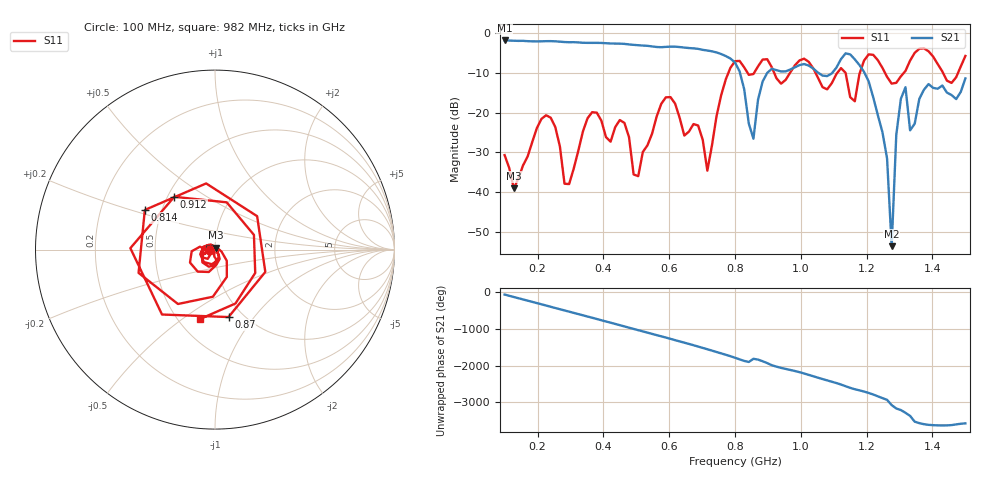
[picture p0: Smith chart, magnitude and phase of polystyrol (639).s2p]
! NanoVNA-App
! Date: 2025-09-25 15:34:51
! Start: 100MHz Stop: 1,5GHz Points: 101
! S-Parameter data: F S11 S21 S12 S22
# Hz S RI R 50
!  Frequency  S11_Real  S11_Imag  S21_Real  S21_Imag  S12_Real  S12_Imag  S22_Real  S22_Imag
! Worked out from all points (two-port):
!   101 points, 100 MHz to 1.5 GHz, reference 50 ohm
!   highest |S21| = -1.80 dB at 100 MHz (marker M1); lowest = -53.7 dB at 1.276 GHz (marker M2)
!   |S21| within 3 dB of the highest: start of sweep to 743.1 MHz
!   lowest |S11| = -39.1 dB at 128 MHz (marker M3), VSWR 1.02, Z = 50.3 + j1.06 ohm
!   |S11| at or under -10 dB: start of sweep to 779.8 MHz; 1.045 GHz to 1.111 GHz (65.74 MHz wide, 6.1 % of centre); 1.256 GHz to 1.313 GHz (56.62 MHz wide, 4.41 % of centre)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
!   S12 and S22 are empty: the file has one direction only
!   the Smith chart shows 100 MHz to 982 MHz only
!   S11 on the Smith chart (normalised r, x): 100 MHz: 0.94, -0.01; 814 MHz: 0.40, +0.22; 870 MHz: 0.86, -0.75; 912 MHz: 0.54, +0.37; 982 MHz: 0.64, -0.58
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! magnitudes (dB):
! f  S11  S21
! 100 MHz  -30.7  -1.8
! 128 MHz  -39.1  -1.9
! 212 MHz  -21.6  -2.0
! 282 MHz  -37.9  -2.2
! 338 MHz  -24.7  -2.4
! 506 MHz  -36.0  -3.0
! 576 MHz  -17.8  -3.5
! 716 MHz  -34.6  -4.3
! 800 MHz  -7.0  -7.4
! 814 MHz  -7.0  -9.6
! 856 MHz  -10.3  -26.6
! 870 MHz  -8.3  -16.7
! 912 MHz  -8.6  -8.9
! 982 MHz  -8.1  -8.6
! 1.038 GHz  -8.9  -8.9
! 1.206 GHz  -5.3  -12.1
! 1.262 GHz  -11.0  -31.5
! 1.276 GHz  -12.7  -53.7
! 1.29 GHz  -12.5  -25.6
! 1.318 GHz  -9.5  -13.6
! 1.332 GHz  -6.9  -24.5
! 1.5 GHz  -5.7  -11.4
